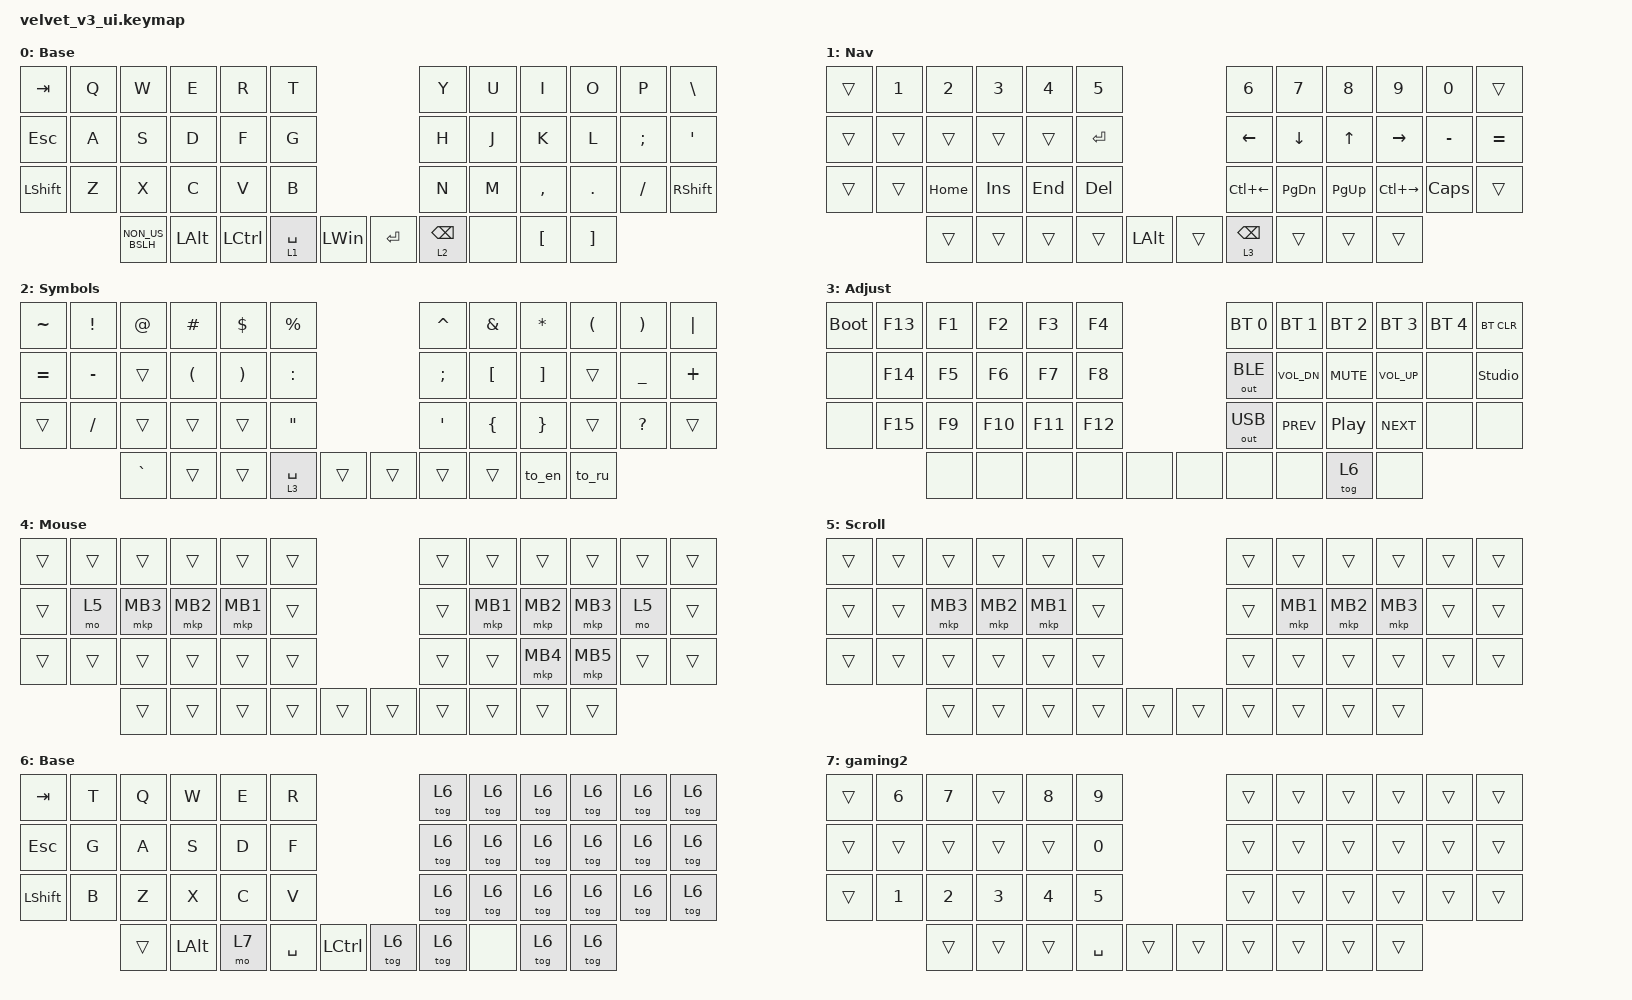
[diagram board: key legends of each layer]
#include "keys_ru.h"
#include <dt-bindings/zmk/input_transform.h>
#include <input/processors.dtsi>
#include <zephyr/dt-bindings/input/input-event-codes.h>
#include <behaviors.dtsi>
#include <dt-bindings/zmk/bt.h>
#include <dt-bindings/zmk/keys.h>
#include <dt-bindings/zmk/outputs.h>
#include <dt-bindings/zmk/pointing.h>

/ {
    behaviors {
        cap_sen: cap_sen {
            compatible = "zmk,behavior-hold-tap";
            label = "CAP_SEN";
            bindings = <&mo>, <&mkp>;

            #binding-cells = <2>;
            tapping-term-ms = <150>;
            hold-while-undecided;
        };

        mouse_layer: mouse_layer {
            compatible = "zmk,behavior-sticky-key";
            label = "MOUSE_LAYER";
            bindings = <&mo>;
            #binding-cells = <1>;
            release-after-ms = <200>;
        };

        zip_auto_mouse: zip_auto_mouse {
            compatible = "zmk,input-processor-temp-layer";
            #input-processor-cells = <2>;
            require-prior-idle-ms = <800>;
            excluded-positions = <>;
        };
    };

    macros {
        to_en: to_en {
            compatible = "zmk,behavior-macro";
            #binding-cells = <0>;
            bindings = <&kp LS(LC(N1))>;
            label = "TO_EN";
        };

        to_ru: to_ru {
            compatible = "zmk,behavior-macro";
            #binding-cells = <0>;
            bindings = <&kp LS(LC(N2))>;
            label = "TO_RU";
        };
    };

    keymap {
        compatible = "zmk,keymap";

        base {
            bindings = <
&kp TAB     &kp Q  &kp W            &kp E     &kp R      &kp T                             &kp Y            &kp U  &kp I      &kp O     &kp P     &kp BSLH
&kp ESCAPE  &kp A  &kp S            &kp D     &kp F      &kp G                             &kp H            &kp J  &kp K      &kp L     &kp SEMI  &kp SQT
&kp LSHFT   &kp Z  &kp X            &kp C     &kp V      &kp B                             &kp N            &kp M  &kp COMMA  &kp DOT   &kp FSLH  &kp RIGHT_SHIFT
                   &kp NON_US_BSLH  &kp LALT  &kp LCTRL  &lt 1 SPACE  &kp LWIN    &kp RET  &lt 2 BACKSPACE  &none  &kp LBKT   &kp RBKT
            >;

            display-name = "Base";
        };

        nav {
            bindings = <
&trans  &kp N1  &kp N2    &kp N3   &kp N4   &kp N5                       &kp N6              &kp N7         &kp N8       &kp N9               &kp N0        &trans
&trans  &trans  &trans    &trans   &trans   &kp RET                      &kp LEFT            &kp DOWN       &kp UP       &kp RIGHT            &kp MINUS     &kp EQUAL
&trans  &trans  &kp HOME  &kp INS  &kp END  &kp DEL                      &kp LC(LEFT_ARROW)  &kp PAGE_DOWN  &kp PAGE_UP  &kp LC(RIGHT_ARROW)  &kp CAPSLOCK  &trans
                &trans    &trans   &trans   &trans   &kp LALT    &trans  &lt 3 BACKSPACE     &trans         &trans       &trans
            >;

            display-name = "Nav";
        };

        sym {
            bindings = <
&kp TILDE  &kp EXCL   &kp AT_SIGN  &kp HASH              &kp DOLLAR             &kp PRCNT                            &kp CARET      &kp AMPERSAND     &kp ASTRK          &kp LPAR  &kp RPAR      &kp PIPE
&kp EQUAL  &kp MINUS  &trans       &kp LEFT_PARENTHESIS  &kp RIGHT_PARENTHESIS  &kp COLON                            &kp SEMICOLON  &kp LEFT_BRACKET  &kp RIGHT_BRACKET  &trans    &kp UNDER     &kp PLUS
&trans     &kp SLASH  &trans       &trans                &trans                 &kp DOUBLE_QUOTES                    &kp SQT        &kp LEFT_BRACE    &kp RIGHT_BRACE    &trans    &kp QUESTION  &trans
                      &kp GRAVE    &trans                &trans                 &lt 3 SPACE        &trans    &trans  &trans         &trans            &to_en             &to_ru
            >;

            display-name = "Symbols";
        };

        adj {
            bindings = <
&bootloader  &kp F13  &kp F1  &kp F2   &kp F3   &kp F4                   &bt BT_SEL 0  &bt BT_SEL 1  &bt BT_SEL 2      &bt BT_SEL 3  &bt BT_SEL 4  &bt BT_CLR
&none        &kp F14  &kp F5  &kp F6   &kp F7   &kp F8                   &out OUT_BLE  &kp C_VOL_DN  &kp C_MUTE        &kp C_VOL_UP  &none         &studio_unlock
&none        &kp F15  &kp F9  &kp F10  &kp F11  &kp F12                  &out OUT_USB  &kp C_PREV    &kp C_PLAY_PAUSE  &kp C_NEXT    &none         &none
                      &none   &none    &none    &none    &none    &none  &none         &none         &tog 6            &none
            >;

            display-name = "Adjust";
        };

        mouse {
            bindings = <
&trans  &trans  &trans    &trans    &trans    &trans                    &trans  &trans    &trans    &trans    &trans  &trans
&trans  &mo 5   &mkp MB3  &mkp MB2  &mkp MB1  &trans                    &trans  &mkp MB1  &mkp MB2  &mkp MB3  &mo 5   &trans
&trans  &trans  &trans    &trans    &trans    &trans                    &trans  &trans    &mkp MB4  &mkp MB5  &trans  &trans
                &trans    &trans    &trans    &trans  &trans    &trans  &trans  &trans    &trans    &trans
            >;

            display-name = "Mouse";
        };

        scroll {
            bindings = <
&trans  &trans  &trans    &trans    &trans    &trans                    &trans  &trans    &trans    &trans    &trans  &trans
&trans  &trans  &mkp MB3  &mkp MB2  &mkp MB1  &trans                    &trans  &mkp MB1  &mkp MB2  &mkp MB3  &trans  &trans
&trans  &trans  &trans    &trans    &trans    &trans                    &trans  &trans    &trans    &trans    &trans  &trans
                &trans    &trans    &trans    &trans  &trans    &trans  &trans  &trans    &trans    &trans
            >;

            display-name = "Scroll";
        };

        gaming1 {
            display-name = "Base";
            bindings = <
&kp TAB         &kp T  &kp Q   &kp W         &kp E  &kp R                                  &tog 6  &tog 6  &tog 6  &tog 6  &tog 6  &tog 6
&kp ESCAPE      &kp G  &kp A   &kp S         &kp D  &kp F                                  &tog 6  &tog 6  &tog 6  &tog 6  &tog 6  &tog 6
&kp LEFT_SHIFT  &kp B  &kp Z   &kp X         &kp C  &kp V                                  &tog 6  &tog 6  &tog 6  &tog 6  &tog 6  &tog 6
                       &trans  &kp LEFT_ALT  &mo 7  &kp SPACE  &kp LEFT_CONTROL    &tog 6  &tog 6  &none   &tog 6  &tog 6
            >;

            label = "gaming1";
        };

        gaming2 {
            bindings = <
&trans  &kp N6  &kp N7  &trans  &kp N8  &kp N9                       &trans  &trans  &trans  &trans  &trans  &trans
&trans  &trans  &trans  &trans  &trans  &kp N0                       &trans  &trans  &trans  &trans  &trans  &trans
&trans  &kp N1  &kp N2  &kp N3  &kp N4  &kp N5                       &trans  &trans  &trans  &trans  &trans  &trans
                &trans  &trans  &trans  &kp SPACE  &trans    &trans  &trans  &trans  &trans  &trans
            >;

            label = "gaming2";
        };
    };
};

&trackball { cpi = <1000>; };

&trackball_listener {
    input-processors = <&zip_auto_mouse 4 500>, <&zip_xy_scaler 9 20>;

    scroller {
        layers = <5>;
        input-processors =
            <&zip_xy_transform INPUT_TRANSFORM_Y_INVERT>,
            <&zip_xy_scaler 1 32>,
            <&zip_xy_to_scroll_mapper>;
    };
};
